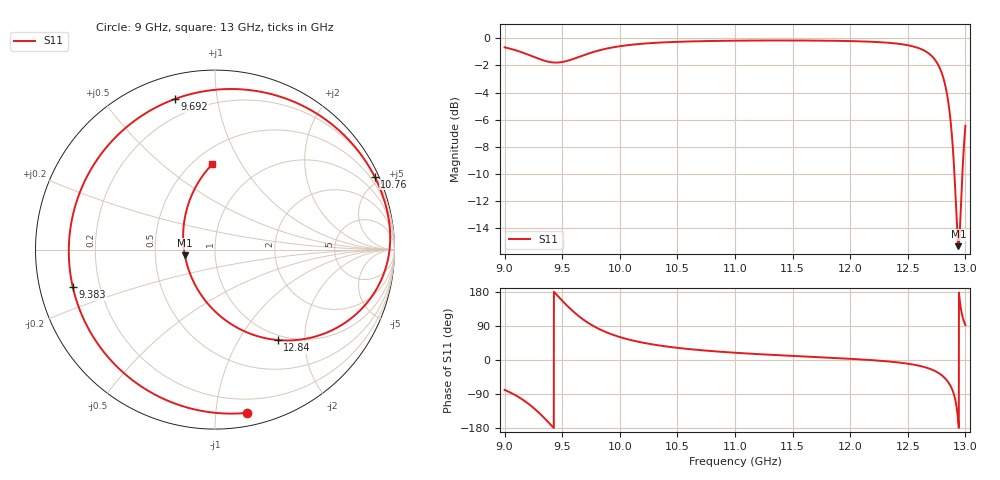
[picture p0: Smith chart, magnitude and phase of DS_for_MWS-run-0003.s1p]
! TOUCHSTONE file generated by CST DESIGN STUDIO
! Date and time: Tue Feb  4 17:13:53 2025
! Project name: C:\Work\MatlabApps\UnitCellOptimizationMatlab\CST\unitcell.cst
! Tree item: Tasks\Sweep1\SPara1\S-Parameters
! Header version: 2024
! Port assignment regex: !\s*Touchstone port\s*([0-9]+)\s*=\s*(CST MWS port|CST DES external port|CST DES block port)\s*(.+)\s* \(\"(.*)\"\)(\s*mode\s*([0-9]+))?.*
! Touchstone port assignment:
! Touchstone port 1 = CST DES external port 1 ("")
# GHz S MA R 50
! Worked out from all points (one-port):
!   4001 points, 9 GHz to 13 GHz, reference 50 ohm
!   lowest |S11| = -15.3 dB at 12.94 GHz (marker M1), VSWR 1.41, Z = 35.6 - j2.27 ohm
!   |S11| at or under -10 dB: 12.9 GHz to 12.97 GHz (69.06 MHz wide, 0.534 % of centre)
!   S11 on the Smith chart (normalised r, x): 9 GHz: 0.09, -1.21; 9.383 GHz: 0.10, -0.13; 9.692 GHz: 0.11, +0.76; 10.76 GHz: 0.25, +4.58; 12.84 GHz: 0.92, -1.49; 13 GHz: 0.62, +0.76
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9  0.9269 -78.9
9.115  0.8988 -96.6
9.208  0.8697 -115.8
9.292  0.8419 -137.5
9.383  0.8194 -165.3
9.441  0.8142 175.7
9.5  0.818 156.5
9.596  0.8395 128.0
9.692  0.8685 104.8
9.844  0.9085 78.4
10  0.9358 60.6
10.216  0.9574 44.8
10.5  0.9714 32.1
10.755  0.9777 24.6
11  0.981 19.2
11.5  0.9827 10.8
12  0.9776 3.2
12.5  0.9438 -9.8
12.627  0.9088 -17.2
12.717  0.8528 -26.3
12.785  0.7641 -38.0
12.843  0.6136 -55.2
12.892  0.3894 -82.8
12.925  0.2079 -127.3
12.94  0.1708 -169.6
12.955  0.2087 147.6
12.98  0.3547 108.9
13  0.4757 91.9
